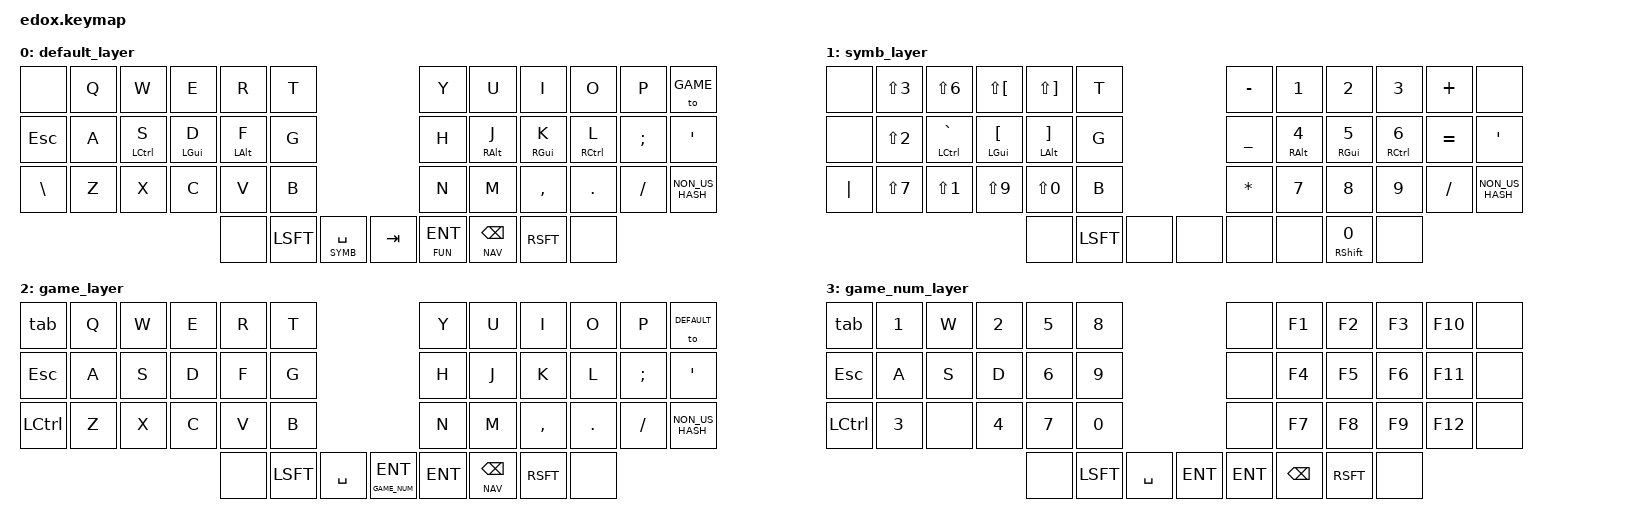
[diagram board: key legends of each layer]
#include <behaviors.dtsi>
#include <dt-bindings/zmk/keys.h>
#include <dt-bindings/zmk/bt.h>

#define DEFAULT   0
#define SYMB      1
#define NAV       2
#define FUN       3
#define GAME      4
#define GAME_NUM  5

/ {
        keymap {
                compatible = "zmk,keymap";

                default_layer {
// --------------------------------------------------------------------------------------------------------
// | NONE |  Q  |  W  |  E  |  R  |  T  |                                 |  Y  |  U   |  I  |  O  |  P  | GAME |
// | ESC  |  A  |C S  |G D  |A F  |  G  |                                 |  H  |A J   |G K  |C L  |  ;  |  '   |
// |  \   |  Z  |  X  |  C  |  V  |  B  |                                 |  N  |  M   |  ,  |  .  |  /  |  #   |
//                          | NONE| SHFT| S SPC | TAB |   | F ENT | N BKSP| SHFT| NONE |
                        bindings = <
   &none    &kp Q &kp W       &kp E      &kp R      &kp T                                                            &kp Y    &kp U       &kp I          &kp O         &kp P    &to GAME
   &kp ESC  &kp A &mt LCTRL S &mt LGUI D &mt LALT F &kp G                                                            &kp H    &mt RALT J  &mt RGUI K     &mt RCTRL L   &kp SEMI &kp SQT
   &kp BSLH &kp Z &kp X       &kp C      &kp V      &kp B                                                            &kp N    &kp M       &kp COMMA      &kp DOT       &kp FSLH &kp NON_US_HASH
                                         &none      &kp LSFT   &lt SYMB SPACE &kp TAB       &lt FUN ENT &lt NAV BKSP &kp RSFT &none
                        >;
                };
                symb_layer {
// -----------------------------------------------------------------------------------------
// | NONE |  £  |  ^  |  {  |  }  |  $  |                           |  -  |  1  |  2  |  3  |  +  | NONE|
// | NONE |  "  |C `  |G [  |A ]  |  *  |                           |  _  |A 4  |G 5  |C 6  |  =  | NONE|
// | PIPE |  &  |  !  |  (  |  )  |  %  |                           |  *  |  7  |  8  |  9  |  .  | NONE|
//                          |NONE |SHFT |NONE |NONE |   |NONE |NONE |S 0  |NONE |
                        bindings = <
   &none    &kp LS(N3) &kp LS(N6)      &kp LS(LBKT)  &kp LS(RBKT)  &kp T                                   &kp MINUS    &kp N1      &kp N2      &kp N3       &kp PLUS  &none
   &none    &kp LS(N2) &mt LCTRL GRAVE &mt LGUI LBKT &mt LALT RBKT &kp G                                   &kp UNDER    &mt RALT N4 &mt RGUI N5 &mt RCTRL N6 &kp EQUAL &kp SQT
   &kp PIPE &kp LS(N7) &kp LS(N1)      &kp LS(N9)    &kp LS(N0)    &kp B                                   &kp STAR     &kp N7      &kp N8      &kp N9       &kp FSLH  &kp NON_US_HASH
                                                     &none         &kp LSFT &none &none        &none &none &mt RSHFT N0 &none
                        >;
                };

                nav_layer {
// --------------------------------------------------------------------------------------------------------
// | NONE | NONE | NONE | NONE | NONE | NONE |                               | NONE | BACK | FRWD | NONE | NONE | NONE |
// | NONE | NONE | LCTRL| LGUI | LALT | NONE |                               | LEFT | DOWN |  UP  | RGHT | NONE | NONE |
// | NONE | NONE | NONE | NONE | NONE | NONE |                               | HOME | PGDN | PGUP | END  | NONE | NONE |
//                             | NONE | LSFT | DEL  | NONE |   | NONE | DEL  | RSFT | NONE |
                        bindings = <
   &none  &none  &none     &none    &none    &none                                        &none       &kp LG(LBKT) &kp LG(RBKT) &none     &none &none
   &none  &none  &kp LCTRL &kp LGUI &kp LALT &none                                        &kp LEFT    &kp DOWN     &kp UP       &kp RIGHT &none &none
   &none  &none  &none     &none    &none    &none                                        &kp HOME    &kp PG_DOWN  &kp PG_UP    &kp END   &none &none
                                    &none    &kp LSFT &kp DEL  &none       &none  &kp DEL &kp RSFT    &none
                };

                fun_layer {
// --------------------------------------------------------------------------------------------------------
// | NONE | NONE | NONE | NONE | NONE | NONE |                               | NONE |  F1  |  F2  |  F3  |  F10  | NONE |
// | NONE | NONE | LCTRL| LGUI | LALT | NONE |                               | NONE |  F4  |  F5  |  F6  |  F11  | NONE |
// | NONE | NONE | NONE | NONE | NONE | NONE |                               | NONE |  F7  |  F8  |  F9  |  F12  | NONE |
//                             | NONE | LSFT | NONE | NONE |   | NONE | NONE | RSFT | NONE |
                        bindings = <
   &none  &none  &none     &none    &none    &none                                       &none     &kp F1  &kp F2  &kp F3  &kp F10  &none
   &none  &none  &kp LCTRL &kp LGUI &kp LALT &none                                       &none     &kp F4  &kp F5  &kp F6  &kp F11  &none
   &none  &none  &none     &none    &none    &none                                       &none     &kp F7  &kp F8  &kp F9  &kp F12  &none
                                    &none    &kp LSFT &kp DEL  &none       &none  &none  &kp RSFT  &none
                };

                game_layer {
// --------------------------------------------------------------------------------------------------------
// | TAB  |  Q  |  W  |  E  |  R  |  T  |                             |  Y  |  U   |  I  |  O  |  P  | DEFAULT |
// | ESC  |  A  |  S  |  D  |  F  |  G  |                             |  H  |  J   |  K  |  L  |  ;  |  '   |
// | LCTL |  Z  |  X  |  C  |  V  |  B  |                             |  N  |  M   |  ,  |  .  |  /  |  #   |
//                          | NONE| SHFT| SPC |GN ENT|   | ENT |N BKSP| SHFT| NONE |
                        bindings = <
   &kp tab   &kp Q &kp W &kp E &kp R &kp T                                                       &kp Y    &kp U  &kp I     &kp O   &kp P    &to DEFAULT
   &kp ESC   &kp A &kp S &kp D &kp F &kp G                                                       &kp H    &kp J  &kp K     &kp L   &kp SEMI &kp SQT
   &kp LCTRL &kp Z &kp X &kp C &kp V &kp B                                                       &kp N    &kp M  &kp COMMA &kp DOT &kp FSLH &kp NON_US_HASH
                               &none &kp LSFT &kp SPACE &lt GAME_NUM ENT    &kp ENT &mt NAV BKSP &kp RSFT &none
                        >;

                };

                game_num_layer {
// --------------------------------------------------------------------------------------------------------
// | TAB  |  1   |  W   |  2   |  5   |  8   |                               | NONE |  F1  |  F2  |  F3  |  F10  | NONE |
// | ESC  |  A   |  S   |  D   |  6   |  9   |                               | NONE |  F4  |  F5  |  F6  |  F11  | NONE |
// | LCTRL|  3   | NONE |  4   |  7   |  0   |                               | NONE |  F7  |  F8  |  F9  |  F12  | NONE |
//                             | NONE| SHFT| SPC | ENT |         | ENT | BKSP| SHFT | NONE |
                        bindings = <
   &kp tab   &kp N1  &kp W  &kp N2  &kp N5  &kp N8                                         &none    &kp F1  &kp F2  &kp F3  &kp F10  &none
   &kp ESC   &kp A   &kp S  &kp D   &kp N6  &kp N9                                         &none    &kp F4  &kp F5  &kp F6  &kp F11  &none
   &kp LCTRL &kp N3  &none  &kp N4  &kp N7  &kp N0                                         &none    &kp F7  &kp F8  &kp F9  &kp F12  &none
                                    &none   &kp LSFT &kp SPACE &kp ENT    &kp ENT &kp BKSP &kp RSFT &none
                        >;

                };
        };
};



/*

// --------------------------------------------------------------------------------------------------------
// | NONE | NONE | NONE | NONE | NONE | NONE |                               | NONE | NONE | NONE | NONE | NONE | NONE |
// | NONE | NONE | NONE | NONE | NONE | NONE |                               | NONE | NONE | NONE | NONE | NONE | NONE |
// | NONE | NONE | NONE | NONE | NONE | NONE |                               | NONE | NONE | NONE | NONE | NONE | NONE |
//                             | NONE | NONE | NONE | NONE |   | NONE | NONE | NONE | NONE |
                        bindings = <
   &none  &none  &none  &none  &none  &none                                   &none  &none  &none  &none  &none  &none
   &none  &none  &none  &none  &none  &none                                   &none  &none  &none  &none  &none  &none
   &none  &none  &none  &none  &none  &none                                   &none  &none  &none  &none  &none  &none
                               &none  &none  &none  &none       &none  &none  &none  &none

*/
